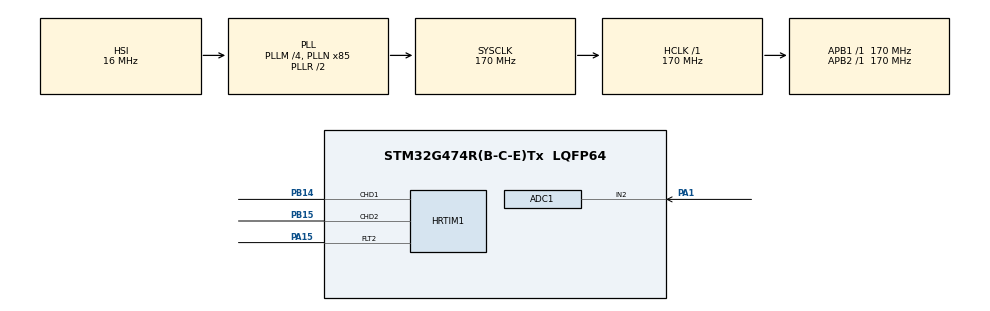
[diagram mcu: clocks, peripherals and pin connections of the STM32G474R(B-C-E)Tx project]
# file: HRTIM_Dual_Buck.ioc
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ADC1.Channel-5\#ChannelRegularConversion=ADC_CHANNEL_2
ADC1.Channel-6\#ChannelRegularConversion=ADC_CHANNEL_2
ADC1.Channel-IN2=ADC_CHANNEL_2
ADC1.ClockPrescaler=ADC_CLOCK_SYNC_PCLK_DIV4
ADC1.ContinuousConvMode=ENABLE
ADC1.DMAContinuousRequests=DISABLE
ADC1.DataAlign=ADC_DATAALIGN_RIGHT
ADC1.DiscontinuousConvMode=DISABLE
ADC1.EOCSelection=ADC_EOC_SINGLE_CONV
ADC1.EnableInjectedConversion=DISABLE
ADC1.EnableInjectedOversampling=DISABLE
ADC1.EnableRegularConversion=ENABLE
ADC1.ExternalTrigConv=ADC_EXTERNALTRIG_HRTIM_TRG1
ADC1.GainCompensation=0
ADC1.LowPowerAutoWait=DISABLE
ADC1.Mode=ADC_MODE_INDEPENDENT
ADC1.NbrOfConversion=2
ADC1.NbrOfConversionFlag=1
ADC1.OffsetNumber-5\#ChannelRegularConversion=ADC_OFFSET_NONE
ADC1.OffsetNumber-6\#ChannelRegularConversion=ADC_OFFSET_NONE
ADC1.Overrun=ADC_OVR_DATA_OVERWRITTEN
ADC1.OversamplingMode=DISABLE
ADC1.Rank-5\#ChannelRegularConversion=1
ADC1.Rank-6\#ChannelRegularConversion=2
ADC1.Rank1_Channel=ADC_CHANNEL_2
ADC1.Rank2_Channel=ADC_CHANNEL_2
ADC1.Resolution=ADC_RESOLUTION_12B
ADC1.SamplingTime-5\#ChannelRegularConversion=ADC_SAMPLETIME_2CYCLES_5
ADC1.SamplingTime-6\#ChannelRegularConversion=ADC_SAMPLETIME_2CYCLES_5
ADC1.ScanConvMode=ADC_SCAN_ENABLE
ADC1.master=1
HRTIM1.ADCTrigger1_Source1=HRTIM_ADCTRIGGEREVENT13_TIMERD_CMP3
HRTIM1.ADCTrigger1_Source2=HRTIM_ADCTRIGGEREVENT13_TIMERD_CMP4
HRTIM1.ADCTrigger_Id1=HRTIM_ADCTRIGGER_1
HRTIM1.ADCTrigger_Id10=__NULL
HRTIM1.ADCTrigger_Id2=__NULL
HRTIM1.ADCTrigger_Id3=__NULL
HRTIM1.ADCTrigger_Id4=__NULL
HRTIM1.ADCTrigger_Id5=__NULL
HRTIM1.ADCTrigger_Id6=__NULL
HRTIM1.ADCTrigger_Id7=__NULL
HRTIM1.ADCTrigger_Id8=__NULL
HRTIM1.ADCTrigger_Id9=__NULL
HRTIM1.AutoDelayedMode2-Output_TD1TD2=HRTIM_AUTODELAYEDMODE_REGULAR
HRTIM1.AutoDelayedMode4-Output_TD1TD2=HRTIM_AUTODELAYEDMODE_REGULAR
HRTIM1.BlankingSourceFaultLine2=HRTIM_FAULTBLANKINGMODE_RSTALIGNED
HRTIM1.BurstDMAconfig-Output_TD1TD2=__NULL
HRTIM1.BurstMode-Output_TD1TD2=HRTIM_TIMERBURSTMODE_MAINTAINCLOCK
HRTIM1.BurstModeEntryDelayed1-Output_TD1TD2=HRTIM_OUTPUTBURSTMODEENTRY_REGULAR
HRTIM1.BurstModeEntryDelayed2-Output_TD1TD2=HRTIM_OUTPUTBURSTMODEENTRY_REGULAR
HRTIM1.CaptureUnit1-Output_TD1TD2=__NULL
HRTIM1.CaptureUnit2-Output_TD1TD2=__NULL
HRTIM1.ChopperModeEnable1-Output_TD1TD2=HRTIM_OUTPUTCHOPPERMODE_DISABLED
HRTIM1.ChopperModeEnable2-Output_TD1TD2=HRTIM_OUTPUTCHOPPERMODE_DISABLED
HRTIM1.ChopperModeconfig-Output_TD1TD2=__NULL
HRTIM1.CompareUnit1-Output_TD1TD2=HRTIM_COMPAREUNIT_1
HRTIM1.CompareUnit2-Output_TD1TD2=HRTIM_COMPAREUNIT_2
HRTIM1.CompareUnit3-Output_TD1TD2=HRTIM_COMPAREUNIT_3
HRTIM1.CompareUnit4-Output_TD1TD2=HRTIM_COMPAREUNIT_4
HRTIM1.CompareValue1-Output_TD1TD2=BUCK_PWM_PERIOD/20
HRTIM1.CompareValue2-Output_TD1TD2=BUCK_PWM_PERIOD - (BUCK_PWM_PERIOD/3)
HRTIM1.CompareValue3-Output_TD1TD2=BUCK_PWM_PERIOD/10
HRTIM1.CompareValue4-Output_TD1TD2=(BUCK_PWM_PERIOD - ((BUCK_PWM_PERIOD/3)/2))
HRTIM1.Configuration_TD=Waveform
HRTIM1.CounterFaultLine2=0
HRTIM1.DACSynchro-Output_TD1TD2=HRTIM_DACSYNC_NONE
HRTIM1.DeadTimeInsertion-Output_TD1TD2=HRTIM_TIMDEADTIMEINSERTION_DISABLED
HRTIM1.Deadtimeconfig-Output_TD1TD2=__NULL
HRTIM1.DelayedProtectionMode-Output_TD1TD2=HRTIM_TIMER_D_E_DELAYEDPROTECTION_DISABLED
HRTIM1.DualChannelDacEnableFake_TD-Output_TD1TD2=HRTIM_TIMER_DCDE_DISABLED
HRTIM1.Enable=HRTIM_BURSTMODECTL_DISABLED
HRTIM1.Enable_FaultLine2=HRTIM_FAULTMODECTL_ENABLED
HRTIM1.Event1-Output_TD1TD2=__NULL
HRTIM1.Event10-Output_TD1TD2=__NULL
HRTIM1.Event2-Output_TD1TD2=__NULL
HRTIM1.Event3-Output_TD1TD2=__NULL
HRTIM1.Event4-Output_TD1TD2=__NULL
HRTIM1.Event5-Output_TD1TD2=__NULL
HRTIM1.Event6-Output_TD1TD2=__NULL
HRTIM1.Event7-Output_TD1TD2=__NULL
HRTIM1.Event8-Output_TD1TD2=__NULL
HRTIM1.Event9-Output_TD1TD2=__NULL
HRTIM1.EventEnableA-Output_TD1TD2=__NULL
HRTIM1.Event_EEV1=__NULL
HRTIM1.Event_EEV10=__NULL
HRTIM1.Event_EEV2=__NULL
HRTIM1.Event_EEV3=__NULL
HRTIM1.Event_EEV4=__NULL
HRTIM1.Event_EEV5=__NULL
HRTIM1.Event_EEV6=__NULL
HRTIM1.Event_EEV7=__NULL
HRTIM1.Event_EEV8=__NULL
HRTIM1.Event_EEV9=__NULL
HRTIM1.FaultEnable_Source1-Output_TD1TD2=HRTIM_TIMFAULTENABLE_FAULT2
HRTIM1.FaultLevel1-Output_TD1TD2=HRTIM_OUTPUTFAULTLEVEL_INACTIVE
HRTIM1.FaultLevel2-Output_TD1TD2=HRTIM_OUTPUTFAULTLEVEL_NONE
HRTIM1.FaultLock-Output_TD1TD2=HRTIM_TIMFAULTLOCK_READWRITE
HRTIM1.Fault_Line1=__NULL
HRTIM1.Fault_Line2=HRTIM_FAULT_2
HRTIM1.Fault_Line3=__NULL
HRTIM1.Fault_Line4=__NULL
HRTIM1.Fault_Line5=__NULL
HRTIM1.Fault_Line6=__NULL
HRTIM1.Filter_FaultLine2=HRTIM_FAULTFILTER_NONE
HRTIM1.GreaterCMP1_TD=HRTIM_TIMERGTCMP1_EQUAL
HRTIM1.GreaterCMP3_TD=HRTIM_TIMERGTCMP3_EQUAL
HRTIM1.HRTIMInterruptResquests1=HRTIM_IT_NONE
HRTIM1.HRTIMInterruptResquests2=HRTIM_IT_NONE
HRTIM1.HRTIMInterruptResquests3=HRTIM_IT_NONE
HRTIM1.HRTIMInterruptResquests4=HRTIM_IT_NONE
HRTIM1.HRTIMInterruptResquests5=HRTIM_IT_NONE
HRTIM1.HRTIMInterruptResquests6=HRTIM_IT_NONE
HRTIM1.HRTIMInterruptResquests7=HRTIM_IT_NONE
HRTIM1.HRTIMInterruptResquests8=HRTIM_IT_NONE
HRTIM1.HRTIMInterruptResquests9=HRTIM_IT_NONE
HRTIM1.IdleLevel1-Output_TD1TD2=HRTIM_OUTPUTIDLELEVEL_INACTIVE
HRTIM1.IdleLevel2-Output_TD1TD2=HRTIM_OUTPUTIDLELEVEL_INACTIVE
HRTIM1.IdleMode1-Output_TD1TD2=HRTIM_OUTPUTIDLEMODE_NONE
HRTIM1.IdleMode2-Output_TD1TD2=HRTIM_OUTPUTIDLEMODE_NONE
HRTIM1.InterleavedMode-Output_TD1TD2=HRTIM_INTERLEAVED_MODE_DISABLED
HRTIM1.InterruptRequests1-Output_TD1TD2=HRTIM_TIM_IT_REP
HRTIM1.Lock_FaultLine2=HRTIM_FAULTLOCK_READWRITE
HRTIM1.ModeTimeBase-Output_TD1TD2=HRTIM_MODE_CONTINUOUS
HRTIM1.NumberADCTriggerSource1=2
HRTIM1.NumberDMARequests_TD=0
HRTIM1.NumberFaultEnable-Output_TD1TD2=1
HRTIM1.NumberInterruptRequests-Output_TD1TD2=1
HRTIM1.NumberResetSource1-Output_TD1TD2=1
HRTIM1.NumberResetSource2_TD=1
HRTIM1.NumberResetTrigger-Output_TD1TD2=0
HRTIM1.NumberSetSource1-Output_TD1TD2=1
HRTIM1.NumberSetSource2_TD=1
HRTIM1.NumberUpdateTrigger-Output_TD1TD2=0
HRTIM1.ORingUpdateSource_ADCTrigger1=HRTIM_ADCTRIGGERUPDATE_TIMER_D
HRTIM1.Output1-Output_TD1TD2=HRTIM_OUTPUT_TD1
HRTIM1.Output2-Output_TD1TD2=HRTIM_OUTPUT_TD2
HRTIM1.Periode_TD=BUCK_PWM_PERIOD
HRTIM1.Polarity1-Output_TD1TD2=HRTIM_OUTPUTPOLARITY_HIGH
HRTIM1.Polarity2-Output_TD1TD2=HRTIM_OUTPUTPOLARITY_HIGH
HRTIM1.Polarity_FaultLine2=HRTIM_FAULTPOLARITY_LOW
HRTIM1.PreloadEnable-Output_TD1TD2=HRTIM_PRELOAD_ENABLED
HRTIM1.PrescalerFault=HRTIM_FAULTPRESCALER_DIV1
HRTIM1.PushPull-Output_TD1TD2=HRTIM_TIMPUSHPULLMODE_DISABLED
HRTIM1.ReSyncUpdate-Output_TD1TD2=HRTIM_TIMERESYNC_UPDATE_UNCONDITIONAL
HRTIM1.RepetitionCounter-Output_TD1TD2=3
HRTIM1.RepetitionUpdate-Output_TD1TD2=HRTIM_UPDATEONREPETITION_ENABLED
HRTIM1.ResetModeFaultLine2=HRTIM_FAULTCOUNTERRST_UNCONDITIONAL
HRTIM1.ResetOnSync-Output_TD1TD2=HRTIM_SYNCRESET_DISABLED
HRTIM1.ResetOutput1_Source1-Output_TD1TD2=HRTIM_OUTPUTRESET_TIMCMP1
HRTIM1.ResetOutput2_Source1-Output_TD1TD2=HRTIM_OUTPUTRESET_TIMPER
HRTIM1.ResetUpdate-Output_TD1TD2=HRTIM_TIMUPDATEONRESET_DISABLED
HRTIM1.SetOutput1_Source1-Output_TD1TD2=HRTIM_OUTPUTSET_TIMPER
HRTIM1.SetOutput2_Source1-Output_TD1TD2=HRTIM_OUTPUTSET_TIMCMP2
HRTIM1.Source_FaultLine2=HRTIM_FAULTSOURCE_DIGITALINPUT
HRTIM1.StartOnSync-Output_TD1TD2=HRTIM_SYNCSTART_DISABLED
HRTIM1.SwapD=__NULL
HRTIM1.SyncOptions=HRTIM_SYNCOPTION_NONE
HRTIM1.Timeout=100
HRTIM1.TimerIdx-Output_TD1TD2=HRTIM_TIMERINDEX_TIMER_D
HRTIM1.TrigHalf_TD=HRTIM_TIMERTRIGHALF_DISABLED
HRTIM1.UpDownMode-Output_TD1TD2=HRTIM_TIMERUPDOWNMODE_UP
HRTIM1.UpdateGating-Output_TD1TD2=HRTIM_UPDATEGATING_INDEPENDENT
Mcu.Family=STM32G4
Mcu.Name=STM32G474R(B-C-E)Tx
Mcu.Package=LQFP64
NVIC.PriorityGroup=NVIC_PRIORITYGROUP_4
PA1.Mode=IN2-Single-Ended
PA1.Signal=ADC1_IN2
PA13.GPIO_Label=T_SWDIO
PA13.Mode=Serial_Wire
PA13.Signal=SYS_JTMS-SWDIO
PA14.GPIO_Label=T_SWCLK
PA14.Mode=Serial_Wire
PA14.Signal=SYS_JTCK-SWCLK
PA15.GPIO_PuPd=GPIO_PULLUP
PA15.Mode=Fault_Enable2
PA15.Signal=HRTIM1_FLT2
PB14.Mode=Output_TD1TD2
PB14.Signal=HRTIM1_CHD1
PB15.Mode=Output_TD1TD2
PB15.Signal=HRTIM1_CHD2
PB3.GPIO_Label=T_SWO
PB3.Signal=SYS_JTDO-SWO
ProjectManager.HeapSize=0x200
ProjectManager.StackSize=0x400
ProjectManager.TargetToolchain=EWARM V8.32
RCC.ADC12Freq_Value=170000000
RCC.ADC345Freq_Value=170000000
RCC.AHBFreq_Value=170000000
RCC.APB1Freq_Value=170000000
RCC.APB1TimFreq_Value=170000000
RCC.APB2Freq_Value=170000000
RCC.APB2TimFreq_Value=170000000
RCC.CortexFreq_Value=170000000
RCC.EXTERNAL_CLOCK_VALUE=12288000
RCC.HCLKFreq_Value=170000000
RCC.HSE_VALUE=24000000
RCC.HSI48_VALUE=48000000
RCC.HSI_VALUE=16000000
RCC.LSE_VALUE=32768
RCC.PLLM=RCC_PLLM_DIV4
RCC.PLLN=85
RCC.SYSCLKFreq_VALUE=170000000
RCC.SYSCLKSource=RCC_SYSCLKSOURCE_PLLCLK
RCC.USBFreq_Value=170000000
RCC.VCOOutputFreq_Value=340000000
VP_SYS_VS_DBSignals.Mode=DisableDeadBatterySignals
board=custom

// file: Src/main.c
/* USER CODE BEGIN Header */
/**
  ******************************************************************************
  * @file           : main.c
  * @brief          : Main program body
  ******************************************************************************
  * @attention
  *
  * Copyright (c) 2019-2021 STMicroelectronics.
  * All rights reserved.
  *
  * This software is licensed under terms that can be found in the LICENSE file
  * in the root directory of this software component.
  * If no LICENSE file comes with this software, it is provided AS-IS.
  *
  ******************************************************************************
  */
/* USER CODE END Header */
#include "main.h"

/* USER CODE BEGIN Includes */
#include "b_g474e_dpow1.h"
/* USER CODE END Includes */

ADC_HandleTypeDef hadc1;

HRTIM_HandleTypeDef hhrtim1;

/* USER CODE BEGIN PV */
/* Private variables ---------------------------------------------------------*/

__IO uint32_t ADCReadout;

/* USER CODE END PV */

void SystemClock_Config(void);
static void MX_GPIO_Init(void);
static void MX_HRTIM1_Init(void);
static void MX_ADC1_Init(void);
/* USER CODE BEGIN PFP */
/* Private function prototypes -----------------------------------------------*/

/* USER CODE END PFP */

int main(void)
{

  /* MCU Configuration--------------------------------------------------------*/

  /* Reset of all peripherals, Initializes the Flash interface and the Systick. */
  HAL_Init();

  /* Configure the system clock */
  SystemClock_Config();

  /* Initialize all configured peripherals */
  MX_GPIO_Init();
  MX_HRTIM1_Init();
  MX_ADC1_Init();
  /* USER CODE BEGIN 2 */
  BSP_LED_Init(LED4);
  BSP_LED_Init(LED5);
  BSP_LED_Init(LED3);

  BSP_JOY_Init(JOY1, JOY_MODE_GPIO, JOY_SEL);

  /* Run the ADC calibration in single-ended mode */
  HAL_ADCEx_Calibration_Start(&hadc1, ADC_SINGLE_ENDED);

  /* Start ADC1 Conversions */
  HAL_ADC_Start(&hadc1);

  /* ---------------*/
  /* HRTIM start-up */
  /* ---------------*/
  /* Enable HRTIM's outputs TD1 and TD2 */
  /* Note: it is necessary to enable also GPIOs to have outputs functional */
  /* This must be done after HRTIM initialization */
  LL_HRTIM_EnableOutput(HRTIM1, LL_HRTIM_OUTPUT_TD1 | LL_HRTIM_OUTPUT_TD2);
  /* Start HRTIM's TIMER D */
  LL_HRTIM_EnableIT_REP(HRTIM1, LL_HRTIM_TIMER_D);
  LL_HRTIM_TIM_CounterEnable(HRTIM1, LL_HRTIM_TIMER_D);

  /* USER CODE END 2 */

  /* Infinite loop */
  while (1)
  {

    /* USER CODE BEGIN 3 */

    /* ---------------- */
    /* Fault management */
    /* ---------------- */
    while(LL_HRTIM_IsActiveFlag_FLT2(HRTIM1) == SET)
    {
      /* LED5 is flashing in case of fault */
      BSP_LED_On(LED5);
      HAL_Delay(20);
      BSP_LED_Off(LED5);
      HAL_Delay(80);

      /* Re-arm HRTIM TD1 output if "User" push button is pressed*/
      if (BSP_JOY_GetState(JOY1) == JOY_SEL)
      {
          LL_HRTIM_ClearFlag_FLT2(HRTIM1);
          LL_HRTIM_EnableOutput(HRTIM1, LL_HRTIM_OUTPUT_TD1);

      }
    }

    /* ---------------- */
    /* Normal operation */
    /* ---------------- */
    /* LED4 toggling to show MCU activity */
    BSP_LED_On(LED4);
    HAL_Delay(100);
    BSP_LED_Off(LED4);
    HAL_Delay(400);

    /* -------------------------------------------------------------------- */
    /* ADC monitoring (to be viewed with watch)                             */
    /* PA1 can be connected to the RC filter (TP4)                          */
    /* or any voltage to be monitored                                       */
    /* -------------------------------------------------------------------- */
    ADCReadout = HAL_ADC_GetValue(&hadc1);

  }
  /* USER CODE END 3 */
}

void SystemClock_Config(void)
{
  RCC_OscInitTypeDef RCC_OscInitStruct = {0};
  RCC_ClkInitTypeDef RCC_ClkInitStruct = {0};

  /** Configure the main internal regulator output voltage
  */
  HAL_PWREx_ControlVoltageScaling(PWR_REGULATOR_VOLTAGE_SCALE1_BOOST);

  /** Initializes the RCC Oscillators according to the specified parameters
  * in the RCC_OscInitTypeDef structure.
  */
  RCC_OscInitStruct.OscillatorType = RCC_OSCILLATORTYPE_HSI;
  RCC_OscInitStruct.HSIState = RCC_HSI_ON;
  RCC_OscInitStruct.HSICalibrationValue = RCC_HSICALIBRATION_DEFAULT;
  RCC_OscInitStruct.PLL.PLLState = RCC_PLL_ON;
  RCC_OscInitStruct.PLL.PLLSource = RCC_PLLSOURCE_HSI;
  RCC_OscInitStruct.PLL.PLLM = RCC_PLLM_DIV4;
  RCC_OscInitStruct.PLL.PLLN = 85;
  RCC_OscInitStruct.PLL.PLLP = RCC_PLLP_DIV2;
  RCC_OscInitStruct.PLL.PLLQ = RCC_PLLQ_DIV2;
  RCC_OscInitStruct.PLL.PLLR = RCC_PLLR_DIV2;
  if (HAL_RCC_OscConfig(&RCC_OscInitStruct) != HAL_OK)
  {
    Error_Handler();
  }

  /** Initializes the CPU, AHB and APB buses clocks
  */
  RCC_ClkInitStruct.ClockType = RCC_CLOCKTYPE_HCLK|RCC_CLOCKTYPE_SYSCLK
                              |RCC_CLOCKTYPE_PCLK1|RCC_CLOCKTYPE_PCLK2;
  RCC_ClkInitStruct.SYSCLKSource = RCC_SYSCLKSOURCE_PLLCLK;
  RCC_ClkInitStruct.AHBCLKDivider = RCC_SYSCLK_DIV1;
  RCC_ClkInitStruct.APB1CLKDivider = RCC_HCLK_DIV1;
  RCC_ClkInitStruct.APB2CLKDivider = RCC_HCLK_DIV1;

  if (HAL_RCC_ClockConfig(&RCC_ClkInitStruct, FLASH_LATENCY_4) != HAL_OK)
  {
    Error_Handler();
  }
}

static void MX_ADC1_Init(void)
{

  ADC_MultiModeTypeDef multimode = {0};
  ADC_ChannelConfTypeDef sConfig = {0};

  /** Common config
  */
  hadc1.Instance = ADC1;
  hadc1.Init.ClockPrescaler = ADC_CLOCK_SYNC_PCLK_DIV4;
  hadc1.Init.Resolution = ADC_RESOLUTION_12B;
  hadc1.Init.DataAlign = ADC_DATAALIGN_RIGHT;
  hadc1.Init.GainCompensation = 0;
  hadc1.Init.ScanConvMode = ADC_SCAN_ENABLE;
  hadc1.Init.EOCSelection = ADC_EOC_SINGLE_CONV;
  hadc1.Init.LowPowerAutoWait = DISABLE;
  hadc1.Init.ContinuousConvMode = ENABLE;
  hadc1.Init.NbrOfConversion = 2;
  hadc1.Init.DiscontinuousConvMode = DISABLE;
  hadc1.Init.ExternalTrigConv = ADC_EXTERNALTRIG_HRTIM_TRG1;
  hadc1.Init.ExternalTrigConvEdge = ADC_EXTERNALTRIGCONVEDGE_RISING;
  hadc1.Init.DMAContinuousRequests = DISABLE;
  hadc1.Init.Overrun = ADC_OVR_DATA_OVERWRITTEN;
  hadc1.Init.OversamplingMode = DISABLE;
  if (HAL_ADC_Init(&hadc1) != HAL_OK)
  {
    Error_Handler();
  }

  /** Configure the ADC multi-mode
  */
  multimode.Mode = ADC_MODE_INDEPENDENT;
  if (HAL_ADCEx_MultiModeConfigChannel(&hadc1, &multimode) != HAL_OK)
  {
    Error_Handler();
  }

  /** Configure Regular Channel
  */
  sConfig.Channel = ADC_CHANNEL_2;
  sConfig.Rank = ADC_REGULAR_RANK_1;
  sConfig.SamplingTime = ADC_SAMPLETIME_2CYCLES_5;
  sConfig.SingleDiff = ADC_SINGLE_ENDED;
  sConfig.OffsetNumber = ADC_OFFSET_NONE;
  sConfig.Offset = 0;
  if (HAL_ADC_ConfigChannel(&hadc1, &sConfig) != HAL_OK)
  {
    Error_Handler();
  }

  /** Configure Regular Channel
  */
  sConfig.Rank = ADC_REGULAR_RANK_2;
  if (HAL_ADC_ConfigChannel(&hadc1, &sConfig) != HAL_OK)
  {
    Error_Handler();
  }

}

static void MX_HRTIM1_Init(void)
{

  HRTIM_FaultBlankingCfgTypeDef pFaultBlkCfg = {0};
  HRTIM_FaultCfgTypeDef pFaultCfg = {0};
  HRTIM_ADCTriggerCfgTypeDef pADCTriggerCfg = {0};
  HRTIM_TimeBaseCfgTypeDef pTimeBaseCfg = {0};
  HRTIM_TimerCtlTypeDef pTimerCtl = {0};
  HRTIM_TimerCfgTypeDef pTimerCfg = {0};
  HRTIM_CompareCfgTypeDef pCompareCfg = {0};
  HRTIM_OutputCfgTypeDef pOutputCfg = {0};

  hhrtim1.Instance = HRTIM1;
  hhrtim1.Init.HRTIMInterruptResquests = HRTIM_IT_NONE;
  hhrtim1.Init.SyncOptions = HRTIM_SYNCOPTION_NONE;
  if (HAL_HRTIM_Init(&hhrtim1) != HAL_OK)
  {
    Error_Handler();
  }
  if (HAL_HRTIM_DLLCalibrationStart(&hhrtim1, HRTIM_CALIBRATIONRATE_3) != HAL_OK)
  {
    Error_Handler();
  }
  if (HAL_HRTIM_PollForDLLCalibration(&hhrtim1, 100) != HAL_OK)
  {
    Error_Handler();
  }
  if (HAL_HRTIM_FaultPrescalerConfig(&hhrtim1, HRTIM_FAULTPRESCALER_DIV1) != HAL_OK)
  {
    Error_Handler();
  }
  pFaultBlkCfg.Threshold = 0;
  pFaultBlkCfg.ResetMode = HRTIM_FAULTCOUNTERRST_UNCONDITIONAL;
  pFaultBlkCfg.BlankingSource = HRTIM_FAULTBLANKINGMODE_RSTALIGNED;
  if (HAL_HRTIM_FaultCounterConfig(&hhrtim1, HRTIM_FAULT_2, &pFaultBlkCfg) != HAL_OK)
  {
    Error_Handler();
  }
  if (HAL_HRTIM_FaultBlankingConfigAndEnable(&hhrtim1, HRTIM_FAULT_2, &pFaultBlkCfg) != HAL_OK)
  {
    Error_Handler();
  }
  pFaultCfg.Source = HRTIM_FAULTSOURCE_DIGITALINPUT;
  pFaultCfg.Polarity = HRTIM_FAULTPOLARITY_LOW;
  pFaultCfg.Filter = HRTIM_FAULTFILTER_NONE;
  pFaultCfg.Lock = HRTIM_FAULTLOCK_READWRITE;
  if (HAL_HRTIM_FaultConfig(&hhrtim1, HRTIM_FAULT_2, &pFaultCfg) != HAL_OK)
  {
    Error_Handler();
  }
  HAL_HRTIM_FaultModeCtl(&hhrtim1, HRTIM_FAULT_2, HRTIM_FAULTMODECTL_ENABLED);
  pADCTriggerCfg.UpdateSource = HRTIM_ADCTRIGGERUPDATE_TIMER_D;
  pADCTriggerCfg.Trigger = HRTIM_ADCTRIGGEREVENT13_TIMERD_CMP3|HRTIM_ADCTRIGGEREVENT13_TIMERD_CMP4;
  if (HAL_HRTIM_ADCTriggerConfig(&hhrtim1, HRTIM_ADCTRIGGER_1, &pADCTriggerCfg) != HAL_OK)
  {
    Error_Handler();
  }
  if (HAL_HRTIM_ADCPostScalerConfig(&hhrtim1, HRTIM_ADCTRIGGER_1, 0x0) != HAL_OK)
  {
    Error_Handler();
  }
  pTimeBaseCfg.Period = BUCK_PWM_PERIOD;
  pTimeBaseCfg.RepetitionCounter = 3;
  pTimeBaseCfg.PrescalerRatio = HRTIM_PRESCALERRATIO_MUL32;
  pTimeBaseCfg.Mode = HRTIM_MODE_CONTINUOUS;
  if (HAL_HRTIM_TimeBaseConfig(&hhrtim1, HRTIM_TIMERINDEX_TIMER_D, &pTimeBaseCfg) != HAL_OK)
  {
    Error_Handler();
  }
  pTimerCtl.UpDownMode = HRTIM_TIMERUPDOWNMODE_UP;
  pTimerCtl.TrigHalf = HRTIM_TIMERTRIGHALF_DISABLED;
  pTimerCtl.GreaterCMP3 = HRTIM_TIMERGTCMP3_EQUAL;
  pTimerCtl.GreaterCMP1 = HRTIM_TIMERGTCMP1_EQUAL;
  pTimerCtl.DualChannelDacEnable = HRTIM_TIMER_DCDE_DISABLED;
  if (HAL_HRTIM_WaveformTimerControl(&hhrtim1, HRTIM_TIMERINDEX_TIMER_D, &pTimerCtl) != HAL_OK)
  {
    Error_Handler();
  }
  pTimerCfg.InterruptRequests = HRTIM_TIM_IT_REP;
  pTimerCfg.DMARequests = HRTIM_TIM_DMA_NONE;
  pTimerCfg.DMASrcAddress = 0x0000;
  pTimerCfg.DMADstAddress = 0x0000;
  pTimerCfg.DMASize = 0x1;
  pTimerCfg.HalfModeEnable = HRTIM_HALFMODE_DISABLED;
  pTimerCfg.InterleavedMode = HRTIM_INTERLEAVED_MODE_DISABLED;
  pTimerCfg.StartOnSync = HRTIM_SYNCSTART_DISABLED;
  pTimerCfg.ResetOnSync = HRTIM_SYNCRESET_DISABLED;
  pTimerCfg.DACSynchro = HRTIM_DACSYNC_NONE;
  pTimerCfg.PreloadEnable = HRTIM_PRELOAD_ENABLED;
  pTimerCfg.UpdateGating = HRTIM_UPDATEGATING_INDEPENDENT;
  pTimerCfg.BurstMode = HRTIM_TIMERBURSTMODE_MAINTAINCLOCK;
  pTimerCfg.RepetitionUpdate = HRTIM_UPDATEONREPETITION_ENABLED;
  pTimerCfg.PushPull = HRTIM_TIMPUSHPULLMODE_DISABLED;
  pTimerCfg.FaultEnable = HRTIM_TIMFAULTENABLE_FAULT2;
  pTimerCfg.FaultLock = HRTIM_TIMFAULTLOCK_READWRITE;
  pTimerCfg.DeadTimeInsertion = HRTIM_TIMDEADTIMEINSERTION_DISABLED;
  pTimerCfg.DelayedProtectionMode = HRTIM_TIMER_D_E_DELAYEDPROTECTION_DISABLED;
  pTimerCfg.UpdateTrigger = HRTIM_TIMUPDATETRIGGER_NONE;
  pTimerCfg.ResetTrigger = HRTIM_TIMRESETTRIGGER_NONE;
  pTimerCfg.ResetUpdate = HRTIM_TIMUPDATEONRESET_DISABLED;
  pTimerCfg.ReSyncUpdate = HRTIM_TIMERESYNC_UPDATE_UNCONDITIONAL;
  if (HAL_HRTIM_WaveformTimerConfig(&hhrtim1, HRTIM_TIMERINDEX_TIMER_D, &pTimerCfg) != HAL_OK)
  {
    Error_Handler();
  }
  pCompareCfg.CompareValue = BUCK_PWM_PERIOD/20;
  if (HAL_HRTIM_WaveformCompareConfig(&hhrtim1, HRTIM_TIMERINDEX_TIMER_D, HRTIM_COMPAREUNIT_1, &pCompareCfg) != HAL_OK)
  {
    Error_Handler();
  }
  pCompareCfg.CompareValue = BUCK_PWM_PERIOD - (BUCK_PWM_PERIOD/3);
  pCompareCfg.AutoDelayedMode = HRTIM_AUTODELAYEDMODE_REGULAR;
  pCompareCfg.AutoDelayedTimeout = 0x0000;

  if (HAL_HRTIM_WaveformCompareConfig(&hhrtim1, HRTIM_TIMERINDEX_TIMER_D, HRTIM_COMPAREUNIT_2, &pCompareCfg) != HAL_OK)
  {
    Error_Handler();
  }
  pCompareCfg.CompareValue = BUCK_PWM_PERIOD/10;
  if (HAL_HRTIM_WaveformCompareConfig(&hhrtim1, HRTIM_TIMERINDEX_TIMER_D, HRTIM_COMPAREUNIT_3, &pCompareCfg) != HAL_OK)
  {
    Error_Handler();
  }
  pCompareCfg.CompareValue = (BUCK_PWM_PERIOD - ((BUCK_PWM_PERIOD/3)/2));

  if (HAL_HRTIM_WaveformCompareConfig(&hhrtim1, HRTIM_TIMERINDEX_TIMER_D, HRTIM_COMPAREUNIT_4, &pCompareCfg) != HAL_OK)
  {
    Error_Handler();
  }
  pOutputCfg.Polarity = HRTIM_OUTPUTPOLARITY_HIGH;
  pOutputCfg.SetSource = HRTIM_OUTPUTSET_TIMPER;
  pOutputCfg.ResetSource = HRTIM_OUTPUTRESET_TIMCMP1;
  pOutputCfg.IdleMode = HRTIM_OUTPUTIDLEMODE_NONE;
  pOutputCfg.IdleLevel = HRTIM_OUTPUTIDLELEVEL_INACTIVE;
  pOutputCfg.FaultLevel = HRTIM_OUTPUTFAULTLEVEL_INACTIVE;
  pOutputCfg.ChopperModeEnable = HRTIM_OUTPUTCHOPPERMODE_DISABLED;
  pOutputCfg.BurstModeEntryDelayed = HRTIM_OUTPUTBURSTMODEENTRY_REGULAR;
  if (HAL_HRTIM_WaveformOutputConfig(&hhrtim1, HRTIM_TIMERINDEX_TIMER_D, HRTIM_OUTPUT_TD1, &pOutputCfg) != HAL_OK)
  {
    Error_Handler();
  }
  pOutputCfg.SetSource = HRTIM_OUTPUTSET_TIMCMP2;
  pOutputCfg.ResetSource = HRTIM_OUTPUTRESET_TIMPER;
  pOutputCfg.FaultLevel = HRTIM_OUTPUTFAULTLEVEL_NONE;
  if (HAL_HRTIM_WaveformOutputConfig(&hhrtim1, HRTIM_TIMERINDEX_TIMER_D, HRTIM_OUTPUT_TD2, &pOutputCfg) != HAL_OK)
  {
    Error_Handler();
  }
  HAL_HRTIM_MspPostInit(&hhrtim1);

}

static void MX_GPIO_Init(void)
{

  /* GPIO Ports Clock Enable */
  __HAL_RCC_GPIOA_CLK_ENABLE();
  __HAL_RCC_GPIOB_CLK_ENABLE();

}

void Error_Handler(void)
{
  /* USER CODE BEGIN Error_Handler_Debug */
  /* User can add his own implementation to report the HAL error return state */

  /* Turn LED5 on */
  BSP_LED_On(LED5);
  while(1)
  {
  }
  /* USER CODE END Error_Handler_Debug */
}
